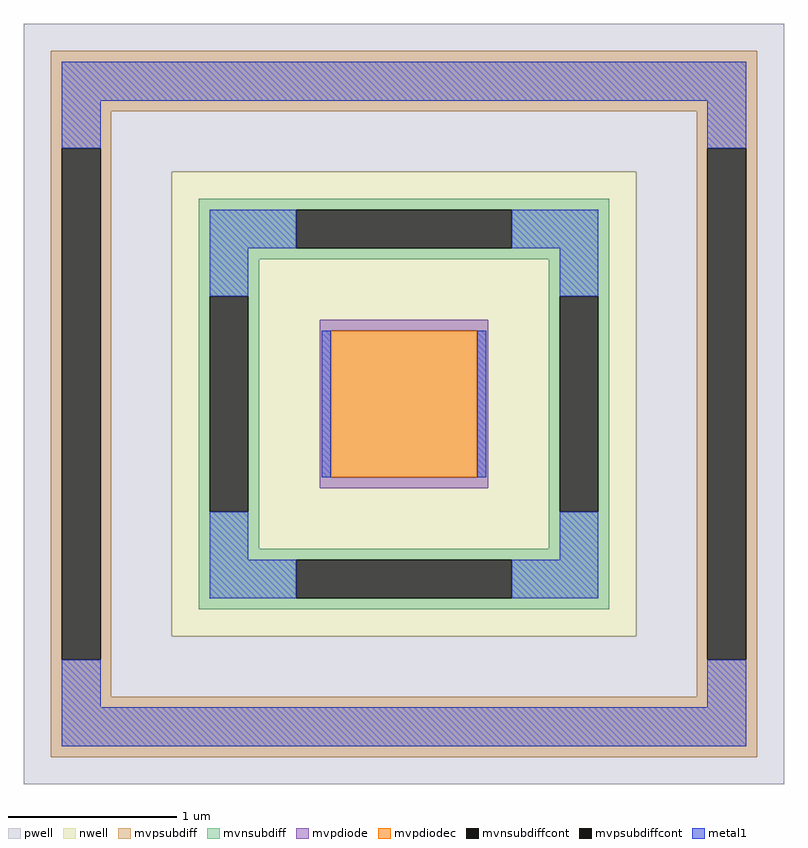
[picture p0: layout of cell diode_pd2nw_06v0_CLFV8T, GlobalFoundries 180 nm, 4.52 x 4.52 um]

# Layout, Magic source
magic
tech gf180mcuD
magscale 1 10
<< nwell >>
rect -276 -276 276 276
<< pwell >>
rect -452 276 452 452
rect -452 -276 -276 276
rect 276 -276 452 276
rect -452 -452 452 -276
<< mvpsubdiff >>
rect -420 348 420 420
rect -420 304 -348 348
rect -420 -304 -407 304
rect -361 -304 -348 304
rect 348 304 420 348
rect -420 -348 -348 -304
rect 348 -304 361 304
rect 407 -304 420 304
rect 348 -348 420 -304
rect -420 -420 420 -348
<< mvnsubdiff >>
rect -244 231 244 244
rect -244 185 -128 231
rect 128 185 244 231
rect -244 172 244 185
rect -244 128 -172 172
rect -244 -128 -231 128
rect -185 -128 -172 128
rect 172 128 244 172
rect -244 -172 -172 -128
rect 172 -128 185 128
rect 231 -128 244 128
rect 172 -172 244 -128
rect -244 -185 244 -172
rect -244 -231 -128 -185
rect 128 -231 244 -185
rect -244 -244 244 -231
<< mvpsubdiffcont >>
rect -407 -304 -361 304
rect 361 -304 407 304
<< mvnsubdiffcont >>
rect -128 185 128 231
rect -231 -128 -185 128
rect 185 -128 231 128
rect -128 -231 128 -185
<< mvpdiode >>
rect -100 87 100 100
rect -100 -87 -87 87
rect 87 -87 100 87
rect -100 -100 100 -87
<< mvpdiodec >>
rect -87 -87 87 87
<< metal1 >>
rect -407 361 407 407
rect -407 304 -361 361
rect 361 304 407 361
rect -231 185 -128 231
rect 128 185 231 231
rect -231 128 -185 185
rect 185 128 231 185
rect -98 -87 -87 87
rect 87 -87 98 87
rect -231 -185 -185 -128
rect 185 -185 231 -128
rect -231 -231 -128 -185
rect 128 -231 231 -185
rect -407 -361 -361 -304
rect 361 -361 407 -304
rect -407 -407 407 -361
<< properties >>
string FIXED_BBOX -208 -208 208 208
string gencell diode_pd2nw_06v0
string library gf180mcu
string parameters w 1 l 1 area 1.0 peri 4.0 nx 1 ny 1 dummy 0 lmin 0.45 wmin 0.45 class diode elc 1 erc 1 etc 1 ebc 1 glc 1 grc 1 gtc 0 gbc 0 doverlap 0 full_metal 1 compatible {diode_pd2nw_03v3 diode_pd2nw_06v0}
<< end >>
